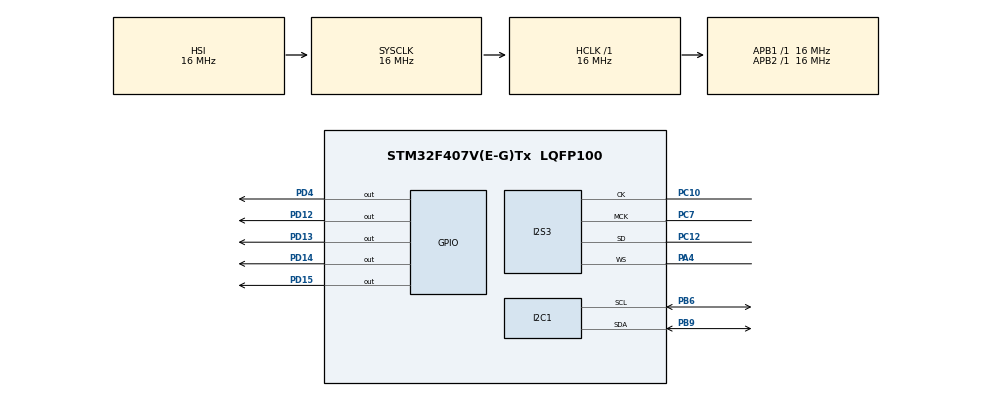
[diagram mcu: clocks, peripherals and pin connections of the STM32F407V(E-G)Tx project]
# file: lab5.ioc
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Dma.Request0=SPI3_TX
Dma.SPI3_TX.0.Direction=DMA_MEMORY_TO_PERIPH
Dma.SPI3_TX.0.FIFOMode=DMA_FIFOMODE_ENABLE
Dma.SPI3_TX.0.FIFOThreshold=DMA_FIFO_THRESHOLD_FULL
Dma.SPI3_TX.0.Instance=DMA1_Stream5
Dma.SPI3_TX.0.MemBurst=DMA_MBURST_SINGLE
Dma.SPI3_TX.0.MemDataAlignment=DMA_MDATAALIGN_HALFWORD
Dma.SPI3_TX.0.MemInc=DMA_MINC_ENABLE
Dma.SPI3_TX.0.Mode=DMA_CIRCULAR
Dma.SPI3_TX.0.PeriphBurst=DMA_PBURST_SINGLE
Dma.SPI3_TX.0.PeriphDataAlignment=DMA_PDATAALIGN_HALFWORD
Dma.SPI3_TX.0.PeriphInc=DMA_PINC_DISABLE
Dma.SPI3_TX.0.Priority=DMA_PRIORITY_LOW
I2S3.AudioFreq=I2S_AUDIOFREQ_48K
I2S3.ErrorAudioFreq=-2.34 %
I2S3.FullDuplexMode=I2S_FULLDUPLEXMODE_DISABLE
I2S3.Instance=SPI$Index
I2S3.RealAudioFreq=46.875 KHz
I2S3.VirtualMode=I2S_MODE_MASTER
Mcu.Family=STM32F4
Mcu.Name=STM32F407V(E-G)Tx
Mcu.Package=LQFP100
NVIC.DMA1_Stream5_IRQn=true\:0\:0\:false\:false\:true\:false\:true\:true
NVIC.PriorityGroup=NVIC_PRIORITYGROUP_4
PA4.Mode=Half_Duplex_Master
PA4.Signal=I2S3_WS
PB6.Mode=I2C
PB6.Signal=I2C1_SCL
PB9.Mode=I2C
PB9.Signal=I2C1_SDA
PC10.Mode=Half_Duplex_Master
PC10.Signal=I2S3_CK
PC12.Mode=Half_Duplex_Master
PC12.Signal=I2S3_SD
PC7.Mode=Master_Clock_Activated
PC7.Signal=I2S3_MCK
PD12.Signal=GPIO_Output
PD13.Signal=GPIO_Output
PD14.Signal=GPIO_Output
PD15.Signal=GPIO_Output
PD4.Signal=GPIO_Output
ProjectManager.HeapSize=0x200
ProjectManager.StackSize=0x400
ProjectManager.TargetToolchain=STM32CubeIDE
RCC.AHBFreq_Value=16000000
RCC.APB1Freq_Value=16000000
RCC.APB2Freq_Value=16000000
RCC.CortexFreq_Value=16000000
RCC.HSE_VALUE=25000000
RCC.HSI_VALUE=16000000
RCC.LSE_VALUE=32768
RCC.SYSCLKFreq_VALUE=16000000
RCC.VCOOutputFreq_Value=192000000
board=custom

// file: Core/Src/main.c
/* USER CODE BEGIN Header */
/**
  ******************************************************************************
  * @file           : main.c
  * @brief          : Main program body
  ******************************************************************************
  * @attention
  *
  * Copyright (c) 2024 STMicroelectronics.
  * All rights reserved.
  *
  * This software is licensed under terms that can be found in the LICENSE file
  * in the root directory of this software component.
  * If no LICENSE file comes with this software, it is provided AS-IS.
  *
  ******************************************************************************
  */
/* USER CODE END Header */
#include "main.h"

/* USER CODE BEGIN PTD */
typedef enum
{
	C4,
	C5,
	D5,
	E5,
	//main part
	F5,
	G5,
	A5,
	D6,
	//
	B5,
	C6,
	E6,
	F6,
	G6,
	A6,
	B6,
	C7,
	MAX_VALUE
} soundToneType;
/* USER CODE END PTD */

/* USER CODE BEGIN PD */
#define CS43L22_I2C_ADDRESS		0x94
#define I2C_TIMEOUT				10
/* USER CODE END PD */

I2C_HandleTypeDef hi2c1;

I2S_HandleTypeDef hi2s3;
DMA_HandleTypeDef hdma_spi3_tx;

/* USER CODE BEGIN PV */
int16_t dataI2S[100] = {0};
/* USER CODE END PV */

void SystemClock_Config(void);
static void MX_GPIO_Init(void);
static void MX_DMA_Init(void);
static void MX_I2C1_Init(void);
static void MX_I2S3_Init(void);

/* USER CODE BEGIN 0 */

void CS43L22_Init(void)
{
	// Enable chip
	HAL_GPIO_WritePin(GPIOD, GPIO_PIN_4, GPIO_PIN_SET);

	//
	// Initialization
	//
	uint8_t TxBuffer[2];

	TxBuffer[0] = 0x0D;
	TxBuffer[1] = 0x01;
	HAL_I2C_Master_Transmit(&hi2c1, CS43L22_I2C_ADDRESS, (uint8_t*) &TxBuffer, 2, I2C_TIMEOUT);

	TxBuffer[0] = 0x00;
	TxBuffer[1] = 0x99;
	HAL_I2C_Master_Transmit(&hi2c1, CS43L22_I2C_ADDRESS, (uint8_t*) &TxBuffer, 2, I2C_TIMEOUT);

	TxBuffer[0] = 0x47;
	TxBuffer[1] = 0x80;
	HAL_I2C_Master_Transmit(&hi2c1, CS43L22_I2C_ADDRESS, (uint8_t*) &TxBuffer, 2, I2C_TIMEOUT);

	TxBuffer[0] = 0x32;
	TxBuffer[1] = 0xFF;
	HAL_I2C_Master_Transmit(&hi2c1, CS43L22_I2C_ADDRESS, (uint8_t*) &TxBuffer, 2, I2C_TIMEOUT);

	TxBuffer[0] = 0x32;
	TxBuffer[1] = 0x7F;
	HAL_I2C_Master_Transmit(&hi2c1, CS43L22_I2C_ADDRESS, (uint8_t*) &TxBuffer, 2, I2C_TIMEOUT);

	TxBuffer[0] = 0x00;
	TxBuffer[1] = 0x00;
	HAL_I2C_Master_Transmit(&hi2c1, CS43L22_I2C_ADDRESS, (uint8_t*) &TxBuffer, 2, I2C_TIMEOUT);

	TxBuffer[0] = 0x04;
	TxBuffer[1] = 0xAF;
	HAL_I2C_Master_Transmit(&hi2c1, CS43L22_I2C_ADDRESS, (uint8_t*) &TxBuffer, 2, I2C_TIMEOUT);

	TxBuffer[0] = 0x0D;
	TxBuffer[1] = 0x70;
	HAL_I2C_Master_Transmit(&hi2c1, CS43L22_I2C_ADDRESS, (uint8_t*) &TxBuffer, 2, I2C_TIMEOUT);

	TxBuffer[0] = 0x05;
	TxBuffer[1] = 0x81;
	HAL_I2C_Master_Transmit(&hi2c1, CS43L22_I2C_ADDRESS, (uint8_t*) &TxBuffer, 2, I2C_TIMEOUT);

	TxBuffer[0] = 0x06;
	TxBuffer[1] = 0x07;
	HAL_I2C_Master_Transmit(&hi2c1, CS43L22_I2C_ADDRESS, (uint8_t*) &TxBuffer, 2, I2C_TIMEOUT);

	TxBuffer[0] = 0x0A;
	TxBuffer[1] = 0x00;
	HAL_I2C_Master_Transmit(&hi2c1, CS43L22_I2C_ADDRESS, (uint8_t*) &TxBuffer, 2, I2C_TIMEOUT);

	TxBuffer[0] = 0x27;
	TxBuffer[1] = 0x00;
	HAL_I2C_Master_Transmit(&hi2c1, CS43L22_I2C_ADDRESS, (uint8_t*) &TxBuffer, 2, I2C_TIMEOUT);

	TxBuffer[0] = 0x1A;
	TxBuffer[1] = 0x0A;
	HAL_I2C_Master_Transmit(&hi2c1, CS43L22_I2C_ADDRESS, (uint8_t*) &TxBuffer, 2, I2C_TIMEOUT);

	TxBuffer[0] = 0x1B;
	TxBuffer[1] = 0x0A;
	HAL_I2C_Master_Transmit(&hi2c1, CS43L22_I2C_ADDRESS, (uint8_t*) &TxBuffer, 2, I2C_TIMEOUT);

	TxBuffer[0] = 0x1F;
	TxBuffer[1] = 0x0F;
	HAL_I2C_Master_Transmit(&hi2c1, CS43L22_I2C_ADDRESS, (uint8_t*) &TxBuffer, 2, I2C_TIMEOUT);

	TxBuffer[0] = 0x02;
	TxBuffer[1] = 0x9E;
	HAL_I2C_Master_Transmit(&hi2c1, CS43L22_I2C_ADDRESS, (uint8_t*) &TxBuffer, 2, I2C_TIMEOUT);
}

void CS43L22_Beep(soundToneType pitch, uint32_t duration_ms)
{
	uint8_t TxBuffer[2];

	// Set volume and off time
	TxBuffer[0] = 0x1D;		// Register address
	TxBuffer[1] = 0x00;		// Value (volume and off time)
	HAL_I2C_Master_Transmit(&hi2c1, CS43L22_I2C_ADDRESS, (uint8_t*) &TxBuffer, 2, I2C_TIMEOUT);

	// Set sound frequency
	TxBuffer[0] = 0x1C;		// Register address
	switch (pitch)
	{
		case C4:
			TxBuffer[1] = 0x00; // Value (frequency and on time)
			break;
		case C5:
			TxBuffer[1] = 0x10; // Value (frequency and on time)
			break;
		case D5:
			TxBuffer[1] = 0x20; // Value (frequency and on time)
			break;
		case E5:
			TxBuffer[1] = 0x30; // Value (frequency and on time)
			break;
		//main part
		case F5:
			TxBuffer[1] = 0x40; // Value (frequency and on time)
			break;
		case A5:
			TxBuffer[1] = 0x60; // Value (frequency and on time)
			break;
		case G5:
			TxBuffer[1] = 0x50; // Value (frequency and on time)
			break;
		case D6:
			TxBuffer[1] = 0x90; // Value (frequency and on time)
			break;
		//
		case B5:
			TxBuffer[1] = 0x70; // Value (frequency and on time)
			break;
		case C6:
			TxBuffer[1] = 0x80; // Value (frequency and on time)
			break;
		case E6:
			TxBuffer[1] = 0xA0; // Value (frequency and on time)
			break;
		case F6:
			TxBuffer[1] = 0xB0; // Value (frequency and on time)
			break;
		case G6:
			TxBuffer[1] = 0xC0; // Value (frequency and on time)
			break;
		case A6:
			TxBuffer[1] = 0xD0; // Value (frequency and on time)
			break;
		case B6:
			TxBuffer[1] = 0xD0; // Value (frequency and on time)
			break;
		case C7:
			TxBuffer[1] = 0xF0; // Value (frequency and on time)
			break;
		case MAX_VALUE:
		default:
			TxBuffer[1] = 0x00;		// Value (frequency and on time)
			break;
	}
	HAL_I2C_Master_Transmit(&hi2c1, CS43L22_I2C_ADDRESS, (uint8_t*) &TxBuffer, 2, I2C_TIMEOUT);

	// Enable continuous mode (SOUND STARTED)
	TxBuffer[0] = 0x1E;		// Register address
	TxBuffer[1] = 0xC0;		// Value (beep and tone configuration)
	HAL_I2C_Master_Transmit(&hi2c1, CS43L22_I2C_ADDRESS, (uint8_t*) &TxBuffer, 2, I2C_TIMEOUT);

	// Playing...
	HAL_Delay(duration_ms);

	// Disable continuous mode (SOUND STOPED)
	TxBuffer[0] = 0x1E;		// Register address
	TxBuffer[1] = 0x00;		// Value (beep and tone configuration)
	HAL_I2C_Master_Transmit(&hi2c1, CS43L22_I2C_ADDRESS, (uint8_t*) &TxBuffer, 2, I2C_TIMEOUT);
}

/* USER CODE END 0 */

int main(void)
{

  /* MCU Configuration--------------------------------------------------------*/

  /* Reset of all peripherals, Initializes the Flash interface and the Systick. */
  HAL_Init();

  /* Configure the system clock */
  SystemClock_Config();

  /* Initialize all configured peripherals */
  MX_GPIO_Init();
  MX_DMA_Init();
  MX_I2C1_Init();
  MX_I2S3_Init();
  /* USER CODE BEGIN 2 */

  // Init DAC
  CS43L22_Init();

  // Transmit empty data
  HAL_I2S_Transmit_DMA(&hi2s3, (uint16_t *)dataI2S, 100);

  /* USER CODE END 2 */

  /* Infinite loop */
  /* USER CODE BEGIN WHILE */
  while (1)
  {
	  for (unsigned int i = 0; i < 3; i++) {
		  CS43L22_Beep(F5, 300);
		  HAL_GPIO_WritePin(GPIOD, GPIO_PIN_12, GPIO_PIN_SET);
		  HAL_Delay(100);
		  HAL_GPIO_WritePin(GPIOD, GPIO_PIN_12, GPIO_PIN_RESET);

		  CS43L22_Beep(F5, 300);
		  HAL_GPIO_WritePin(GPIOD, GPIO_PIN_12, GPIO_PIN_SET);
		  HAL_Delay(100);
		  HAL_GPIO_WritePin(GPIOD, GPIO_PIN_12, GPIO_PIN_RESET);

		  CS43L22_Beep(F5, 300);
		  HAL_GPIO_WritePin(GPIOD, GPIO_PIN_12, GPIO_PIN_SET);
		  HAL_Delay(100);
		  HAL_GPIO_WritePin(GPIOD, GPIO_PIN_12, GPIO_PIN_RESET);

		  CS43L22_Beep(A5, 300);
		  HAL_GPIO_WritePin(GPIOD, GPIO_PIN_15, GPIO_PIN_SET);
		  HAL_Delay(100);
		  HAL_GPIO_WritePin(GPIOD, GPIO_PIN_15, GPIO_PIN_RESET);

		  CS43L22_Beep(A5, 300);
		  HAL_GPIO_WritePin(GPIOD, GPIO_PIN_15, GPIO_PIN_SET);
		  HAL_Delay(100);
		  HAL_GPIO_WritePin(GPIOD, GPIO_PIN_15, GPIO_PIN_RESET);

		  CS43L22_Beep(G5, 300);
		  HAL_GPIO_WritePin(GPIOD, GPIO_PIN_14, GPIO_PIN_SET);
		  HAL_Delay(100);
		  HAL_GPIO_WritePin(GPIOD, GPIO_PIN_14, GPIO_PIN_RESET);

		  CS43L22_Beep(F5, 300);
		  HAL_GPIO_WritePin(GPIOD, GPIO_PIN_12, GPIO_PIN_SET);
		  HAL_Delay(500);
		  HAL_GPIO_WritePin(GPIOD, GPIO_PIN_12, GPIO_PIN_RESET);

		  CS43L22_Beep(A5, 300);
		  HAL_GPIO_WritePin(GPIOD, GPIO_PIN_15, GPIO_PIN_SET);
		  HAL_Delay(100);
		  HAL_GPIO_WritePin(GPIOD, GPIO_PIN_15, GPIO_PIN_RESET);

		  CS43L22_Beep(A5, 300);
		  HAL_GPIO_WritePin(GPIOD, GPIO_PIN_15, GPIO_PIN_SET);
		  HAL_Delay(100);
		  HAL_GPIO_WritePin(GPIOD, GPIO_PIN_15, GPIO_PIN_RESET);

		  CS43L22_Beep(A5, 300);
		  HAL_GPIO_WritePin(GPIOD, GPIO_PIN_15, GPIO_PIN_SET);
		  HAL_Delay(100);
		  HAL_GPIO_WritePin(GPIOD, GPIO_PIN_15, GPIO_PIN_RESET);

		  CS43L22_Beep(G5, 300);
		  HAL_GPIO_WritePin(GPIOD, GPIO_PIN_14, GPIO_PIN_SET);
		  HAL_Delay(100);
		  HAL_GPIO_WritePin(GPIOD, GPIO_PIN_14, GPIO_PIN_RESET);

		  CS43L22_Beep(A5, 300);
		  HAL_GPIO_WritePin(GPIOD, GPIO_PIN_15, GPIO_PIN_SET);
		  HAL_Delay(100);
		  HAL_GPIO_WritePin(GPIOD, GPIO_PIN_15, GPIO_PIN_RESET);

		  CS43L22_Beep(G5, 300);
		  HAL_GPIO_WritePin(GPIOD, GPIO_PIN_14, GPIO_PIN_SET);
		  HAL_Delay(100);
		  HAL_GPIO_WritePin(GPIOD, GPIO_PIN_14, GPIO_PIN_RESET);

		  CS43L22_Beep(F5, 300);
		  HAL_GPIO_WritePin(GPIOD, GPIO_PIN_12, GPIO_PIN_SET);
		  HAL_Delay(500);
		  HAL_GPIO_WritePin(GPIOD, GPIO_PIN_12, GPIO_PIN_RESET);

		  CS43L22_Beep(F5, 300);
		  HAL_GPIO_WritePin(GPIOD, GPIO_PIN_12, GPIO_PIN_SET);
		  HAL_Delay(100);
		  HAL_GPIO_WritePin(GPIOD, GPIO_PIN_12, GPIO_PIN_RESET);

		  CS43L22_Beep(F5, 300);
		  HAL_GPIO_WritePin(GPIOD, GPIO_PIN_12, GPIO_PIN_SET);
		  HAL_Delay(100);
		  HAL_GPIO_WritePin(GPIOD, GPIO_PIN_12, GPIO_PIN_RESET);

		  CS43L22_Beep(F5, 300);
		  HAL_GPIO_WritePin(GPIOD, GPIO_PIN_12, GPIO_PIN_SET);
		  HAL_Delay(100);
		  HAL_GPIO_WritePin(GPIOD, GPIO_PIN_12, GPIO_PIN_RESET);

		  CS43L22_Beep(A5, 300);
		  HAL_GPIO_WritePin(GPIOD, GPIO_PIN_15, GPIO_PIN_SET);
		  HAL_Delay(100);
		  HAL_GPIO_WritePin(GPIOD, GPIO_PIN_15, GPIO_PIN_RESET);

		  CS43L22_Beep(A5, 300);
		  HAL_GPIO_WritePin(GPIOD, GPIO_PIN_15, GPIO_PIN_SET);
		  HAL_Delay(100);
		  HAL_GPIO_WritePin(GPIOD, GPIO_PIN_15, GPIO_PIN_RESET);

		  CS43L22_Beep(G5, 300);
		  HAL_GPIO_WritePin(GPIOD, GPIO_PIN_14, GPIO_PIN_SET);
		  HAL_Delay(100);
		  HAL_GPIO_WritePin(GPIOD, GPIO_PIN_14, GPIO_PIN_RESET);

		  CS43L22_Beep(F5, 300);
		  HAL_GPIO_WritePin(GPIOD, GPIO_PIN_12, GPIO_PIN_SET);
		  HAL_Delay(500);
		  HAL_GPIO_WritePin(GPIOD, GPIO_PIN_12, GPIO_PIN_RESET);

		  CS43L22_Beep(A5, 300);
		  HAL_GPIO_WritePin(GPIOD, GPIO_PIN_15, GPIO_PIN_SET);
		  HAL_Delay(100);
		  HAL_GPIO_WritePin(GPIOD, GPIO_PIN_15, GPIO_PIN_RESET);

		  CS43L22_Beep(A5, 300);
		  HAL_GPIO_WritePin(GPIOD, GPIO_PIN_15, GPIO_PIN_SET);
		  HAL_Delay(100);
		  HAL_GPIO_WritePin(GPIOD, GPIO_PIN_15, GPIO_PIN_RESET);

		  CS43L22_Beep(A5, 300);
		  HAL_GPIO_WritePin(GPIOD, GPIO_PIN_15, GPIO_PIN_SET);
		  HAL_Delay(500);
		  HAL_GPIO_WritePin(GPIOD, GPIO_PIN_15, GPIO_PIN_RESET);

		  CS43L22_Beep(D6, 300);
		  HAL_GPIO_WritePin(GPIOD, GPIO_PIN_13, GPIO_PIN_SET);
		  HAL_Delay(100);
		  HAL_GPIO_WritePin(GPIOD, GPIO_PIN_13, GPIO_PIN_RESET);

		  CS43L22_Beep(D6, 300);
		  HAL_GPIO_WritePin(GPIOD, GPIO_PIN_13, GPIO_PIN_SET);
		  HAL_Delay(100);
		  HAL_GPIO_WritePin(GPIOD, GPIO_PIN_13, GPIO_PIN_RESET);

		  CS43L22_Beep(D6, 300);
		  HAL_GPIO_WritePin(GPIOD, GPIO_PIN_13, GPIO_PIN_SET);
		  HAL_Delay(500);
		  HAL_GPIO_WritePin(GPIOD, GPIO_PIN_13, GPIO_PIN_RESET);
	  }
	  break;

    /* USER CODE END WHILE */

  }
}

void SystemClock_Config(void)
{
  RCC_OscInitTypeDef RCC_OscInitStruct = {0};
  RCC_ClkInitTypeDef RCC_ClkInitStruct = {0};

  /** Macro to configure the PLL multiplication factor
  */
  __HAL_RCC_PLL_PLLM_CONFIG(16);

  /** Macro to configure the PLL clock source
  */
  __HAL_RCC_PLL_PLLSOURCE_CONFIG(RCC_PLLSOURCE_HSI);

  /** Configure the main internal regulator output voltage
  */
  __HAL_RCC_PWR_CLK_ENABLE();
  __HAL_PWR_VOLTAGESCALING_CONFIG(PWR_REGULATOR_VOLTAGE_SCALE1);

  /** Initializes the RCC Oscillators according to the specified parameters
  * in the RCC_OscInitTypeDef structure.
  */
  RCC_OscInitStruct.OscillatorType = RCC_OSCILLATORTYPE_HSI;
  RCC_OscInitStruct.HSIState = RCC_HSI_ON;
  RCC_OscInitStruct.HSICalibrationValue = RCC_HSICALIBRATION_DEFAULT;
  RCC_OscInitStruct.PLL.PLLState = RCC_PLL_NONE;
  RCC_OscInitStruct.PLL.PLLSource = RCC_PLLSOURCE_HSI;
  if (HAL_RCC_OscConfig(&RCC_OscInitStruct) != HAL_OK)
  {
    Error_Handler();
  }

  /** Initializes the CPU, AHB and APB buses clocks
  */
  RCC_ClkInitStruct.ClockType = RCC_CLOCKTYPE_HCLK|RCC_CLOCKTYPE_SYSCLK
                              |RCC_CLOCKTYPE_PCLK1|RCC_CLOCKTYPE_PCLK2;
  RCC_ClkInitStruct.SYSCLKSource = RCC_SYSCLKSOURCE_HSI;
  RCC_ClkInitStruct.AHBCLKDivider = RCC_SYSCLK_DIV1;
  RCC_ClkInitStruct.APB1CLKDivider = RCC_HCLK_DIV1;
  RCC_ClkInitStruct.APB2CLKDivider = RCC_HCLK_DIV1;

  if (HAL_RCC_ClockConfig(&RCC_ClkInitStruct, FLASH_LATENCY_0) != HAL_OK)
  {
    Error_Handler();
  }
}

static void MX_I2C1_Init(void)
{

  hi2c1.Instance = I2C1;
  hi2c1.Init.ClockSpeed = 100000;
  hi2c1.Init.DutyCycle = I2C_DUTYCYCLE_2;
  hi2c1.Init.OwnAddress1 = 0;
  hi2c1.Init.AddressingMode = I2C_ADDRESSINGMODE_7BIT;
  hi2c1.Init.DualAddressMode = I2C_DUALADDRESS_DISABLE;
  hi2c1.Init.OwnAddress2 = 0;
  hi2c1.Init.GeneralCallMode = I2C_GENERALCALL_DISABLE;
  hi2c1.Init.NoStretchMode = I2C_NOSTRETCH_DISABLE;
  if (HAL_I2C_Init(&hi2c1) != HAL_OK)
  {
    Error_Handler();
  }

}

static void MX_I2S3_Init(void)
{

  hi2s3.Instance = SPI3;
  hi2s3.Init.Mode = I2S_MODE_MASTER_TX;
  hi2s3.Init.Standard = I2S_STANDARD_PHILIPS;
  hi2s3.Init.DataFormat = I2S_DATAFORMAT_16B;
  hi2s3.Init.MCLKOutput = I2S_MCLKOUTPUT_ENABLE;
  hi2s3.Init.AudioFreq = I2S_AUDIOFREQ_48K;
  hi2s3.Init.CPOL = I2S_CPOL_LOW;
  hi2s3.Init.ClockSource = I2S_CLOCK_PLL;
  hi2s3.Init.FullDuplexMode = I2S_FULLDUPLEXMODE_DISABLE;
  if (HAL_I2S_Init(&hi2s3) != HAL_OK)
  {
    Error_Handler();
  }

}

static void MX_DMA_Init(void)
{

  /* DMA controller clock enable */
  __HAL_RCC_DMA1_CLK_ENABLE();

  /* DMA interrupt init */
  /* DMA1_Stream5_IRQn interrupt configuration */
  HAL_NVIC_SetPriority(DMA1_Stream5_IRQn, 0, 0);
  HAL_NVIC_EnableIRQ(DMA1_Stream5_IRQn);

}

static void MX_GPIO_Init(void)
{
  GPIO_InitTypeDef GPIO_InitStruct = {0};

  /* GPIO Ports Clock Enable */
  __HAL_RCC_GPIOA_CLK_ENABLE();
  __HAL_RCC_GPIOD_CLK_ENABLE();
  __HAL_RCC_GPIOC_CLK_ENABLE();
  __HAL_RCC_GPIOB_CLK_ENABLE();

  /*Configure GPIO pin Output Level */
  HAL_GPIO_WritePin(GPIOD, GPIO_PIN_12|GPIO_PIN_13|GPIO_PIN_14|GPIO_PIN_15
                          |GPIO_PIN_4, GPIO_PIN_RESET);

  /*Configure GPIO pins : PD12 PD13 PD14 PD15
                           PD4 */
  GPIO_InitStruct.Pin = GPIO_PIN_12|GPIO_PIN_13|GPIO_PIN_14|GPIO_PIN_15
                          |GPIO_PIN_4;
  GPIO_InitStruct.Mode = GPIO_MODE_OUTPUT_PP;
  GPIO_InitStruct.Pull = GPIO_NOPULL;
  GPIO_InitStruct.Speed = GPIO_SPEED_FREQ_LOW;
  HAL_GPIO_Init(GPIOD, &GPIO_InitStruct);

}

void Error_Handler(void)
{
  __disable_irq();
  while (1)
  {
  }
}
